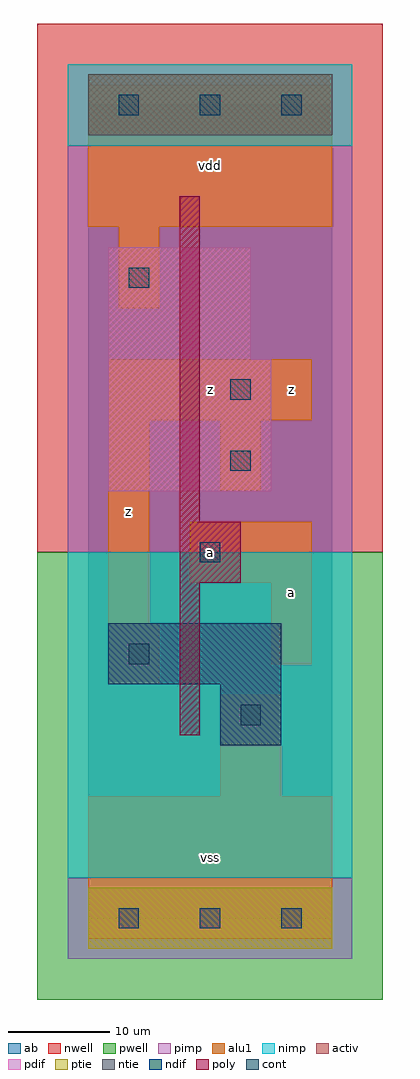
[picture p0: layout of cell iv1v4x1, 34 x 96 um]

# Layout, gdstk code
import gdstk
lib = gdstk.Library(unit=1e-6, precision=1e-09)
def R(c, l, rs):  # rectangles x0, y0, x1, y1
    for r in rs: c.add(gdstk.rectangle(r[:2], r[2:], *l))
def A(c, l, x, y, w, h, nx, ny, dx, dy):  # array of equal rectangles
    R(c, l, [(x+i*dx, y+j*dy, x+i*dx+w, y+j*dy+h) for i in range(nx) for j in range(ny)])
ndif = (3, 0)
pdif = (4, 0)
ntie = (5, 0)
ptie = (6, 0)
cont = (25, 0)
pwell = (41, 0)
nwell = (42, 0)
activ = (43, 0)
pimp = (44, 0)
nimp = (45, 0)
poly = (46, 0)
alu1 = (49, 0)
ab = (63, 0)

iv1v4x1 = lib.new_cell('iv1v4x1')
R(iv1v4x1, ndif, [(13,17,19,23), (2,23,19,29)])
R(iv1v4x1, pdif, [(2,42,18,55), (2,55,16,66)])
R(iv1v4x1, ntie, [(0,77,24,83)])
R(iv1v4x1, ptie, [(0,-3,24,3)])
A(iv1v4x1, cont, 3, -1, 2, 2, 3, 2, 8, 80)
R(iv1v4x1, cont, [(15,19,17,21), (4,25,6,27), (11,35,13,37), (14,44,16,46), (14,51,16,53), (4,62,6,64)])
R(iv1v4x1, pwell, [(-5,-8,29,36)])
R(iv1v4x1, nwell, [(-5,36,29,88)])
R(iv1v4x1, activ, [(0,-3,24,3), (13,17,19,23), (2,23,19,29), (2,42,18,55), (2,55,16,66), (0,77,24,83)])
R(iv1v4x1, pimp, [(-2,-4,26,4), (-2,36,26,76)])
R(iv1v4x1, nimp, [(-2,4,26,36), (-2,76,26,84)])
R(iv1v4x1, poly, [(9,18,11,33), (9,33,15,39), (9,39,11,71)])
R(iv1v4x1, alu1, [(0,-2,24,12), (13,12,19,22), (2,23,7,29), (18,25,22,33), (2,29,6,49), (10,33,22,39), (13,42,17,49), (2,49,22,55), (3,60,7,68), (0,68,24,82)])
R(iv1v4x1, ab, [(0,0,24,80)])
iv1v4x1.add(gdstk.Label('z', (4,40), layer=49, texttype=0))
iv1v4x1.add(gdstk.Label('vss', (12,6), layer=49, texttype=0))
iv1v4x1.add(gdstk.Label('a', (12,36), layer=49, texttype=0))
iv1v4x1.add(gdstk.Label('z', (12,52), layer=49, texttype=0))
iv1v4x1.add(gdstk.Label('vdd', (12,74), layer=49, texttype=0))
iv1v4x1.add(gdstk.Label('a', (20,32), layer=49, texttype=0))
iv1v4x1.add(gdstk.Label('z', (20,52), layer=49, texttype=0))

lib.write_gds('iv1v4x1.gds')
